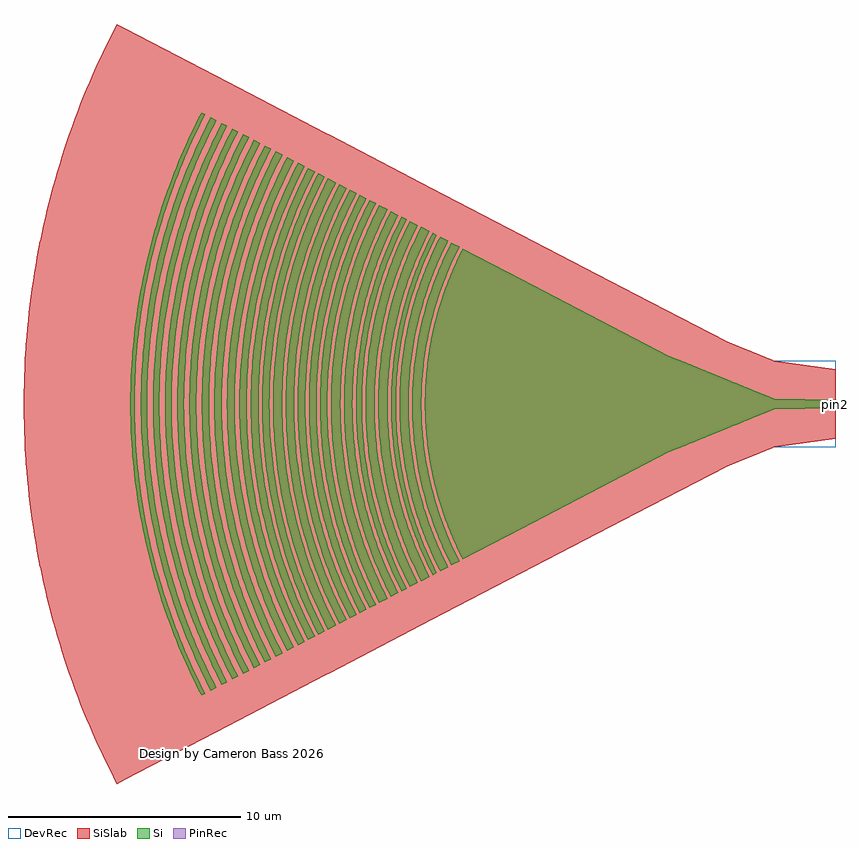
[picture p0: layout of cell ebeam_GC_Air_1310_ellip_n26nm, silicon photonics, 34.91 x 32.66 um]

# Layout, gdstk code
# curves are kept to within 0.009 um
import gdstk
lib = gdstk.Library(unit=1e-6, precision=1e-09)
def P(c, l, *ps):  # polygons
    for p in ps: c.add(gdstk.Polygon(p, *l))
Si = (1, 0)
PinRec = (1, 10)
SiSlab = (2, 0)
DevRec = (68, 0)

ebeam_gc_air_1310_ellip_ = lib.new_cell('ebeam_GC_Air_1310_ellip_n26nm')
P(ebeam_gc_air_1310_ellip_, Si, [(-16.037,-6.681),(-16.443,-5.829),(-16.76,-5.044),(-16.988,-4.376),(-17.253,-3.425),(-17.403,-2.735),(-17.555,-1.76),(-17.633,-0.916),(-17.661,-0.071),(-17.641,0.776),(-17.571,1.62),(-17.452,2.458),(-17.286,3.288),(-17.07,4.106),(-16.76,5.044),(-16.443,5.83),(-16.037,6.681),(-7.149,2.053),(-3.195,0.44),(-2.887,0.326),(-2.719,0.245),(-2.653,0.224),(0,0.175),(0,-0.175),(-2.685,-0.232),(-2.87,-0.319),(-3.21,-0.446),(-7.133,-2.046)],
  [(-16.529,-6.936),(-16.889,-6.188),(-17.226,-5.376),(-17.514,-4.545),(-17.754,-3.7),(-17.945,-2.841),(-18.084,-1.972),(-18.183,-0.952),(-18.213,-0.073),(-18.192,0.805),(-18.102,1.828),(-17.945,2.841),(-17.789,3.557),(-17.68,3.983),(-17.514,4.545),(-17.226,5.376),(-16.889,6.188),(-16.529,6.937),(-16.172,6.751),(-16.525,6.021),(-16.902,5.097),(-17.175,4.287),(-17.4,3.461),(-17.578,2.625),(-17.706,1.778),(-17.793,0.784),(-17.813,0.071),(-17.793,-0.784),(-17.706,-1.778),(-17.578,-2.624),(-17.4,-3.461),(-17.175,-4.286),(-16.902,-5.097),(-16.525,-6.021),(-16.172,-6.751)],
  [(-17.01,-7.187),(-17.383,-6.412),(-17.732,-5.571),(-18.03,-4.71),(-18.279,-3.833),(-18.447,-3.093),(-18.62,-2.045),(-18.713,-1.138),(-18.74,-0.683),(-18.754,-0.076),(-18.732,0.835),(-18.657,1.743),(-18.6,2.195),(-18.503,2.794),(-18.315,3.686),(-18.161,4.274),(-18.03,4.71),(-17.732,5.571),(-17.383,6.412),(-17.01,7.187),(-16.663,7.007),(-17.088,6.115),(-17.419,5.292),(-17.703,4.45),(-17.937,3.593),(-18.121,2.725),(-18.254,1.846),(-18.335,0.962),(-18.365,0.074),(-18.344,-0.813),(-18.254,-1.846),(-18.121,-2.725),(-17.937,-3.593),(-17.703,-4.45),(-17.419,-5.292),(-17.088,-6.115),(-16.663,-7.007)],
  [(-17.33,-7.354),(-17.712,-6.56),(-18.069,-5.7),(-18.374,-4.819),(-18.629,-3.922),(-18.83,-3.012),(-18.911,-2.553),(-18.998,-1.938),(-19.084,-1.009),(-19.115,-0.078),(-19.093,0.854),(-18.998,1.938),(-18.858,2.859),(-18.666,3.772),(-18.42,4.67),(-18.124,5.554),(-17.775,6.419),(-17.33,7.354),(-17.145,7.257),(-17.584,6.334),(-17.818,5.769),(-17.979,5.338),(-18.129,4.902),(-18.307,4.315),(-18.532,3.424),(-18.705,2.52),(-18.825,1.608),(-18.884,0.843),(-18.906,0.077),(-18.884,-0.843),(-18.825,-1.608),(-18.729,-2.368),(-18.564,-3.273),(-18.307,-4.315),(-18.129,-4.902),(-17.98,-5.337),(-17.584,-6.334),(-17.145,-7.257)],
  [(-17.826,-7.612),(-18.286,-6.643),(-18.647,-5.749),(-18.954,-4.834),(-19.208,-3.904),(-19.407,-2.959),(-19.551,-2.006),(-19.64,-1.044),(-19.673,-0.08),(-19.649,0.885),(-19.57,1.846),(-19.435,2.801),(-19.315,3.433),(-19.208,3.904),(-18.954,4.834),(-18.647,5.749),(-18.286,6.644),(-18.018,7.229),(-17.826,7.612),(-17.465,7.424),(-17.851,6.624),(-18.21,5.754),(-18.52,4.865),(-18.776,3.96),(-19.009,2.887),(-19.149,1.956),(-19.213,1.332),(-19.245,0.862),(-19.267,0.078),(-19.245,-0.862),(-19.213,-1.332),(-19.149,-1.956),(-19.009,-2.887),(-18.813,-3.807),(-18.566,-4.715),(-18.265,-5.607),(-17.915,-6.48),(-17.465,-7.424)],
  [(-18.306,-7.862),(-18.577,-7.315),(-18.782,-6.861),(-19.154,-5.937),(-19.472,-4.992),(-19.734,-4.031),(-19.939,-3.056),(-20.089,-2.071),(-20.18,-1.079),(-20.214,-0.083),(-20.19,0.913),(-20.108,1.906),(-19.996,2.729),(-19.878,3.383),(-19.773,3.87),(-19.61,4.514),(-19.472,4.992),(-19.154,5.937),(-18.782,6.862),(-18.577,7.315),(-18.306,7.862),(-17.962,7.683),(-18.362,6.854),(-18.554,6.407),(-18.79,5.802),(-19.101,4.88),(-19.357,3.94),(-19.559,2.987),(-19.704,2.024),(-19.794,1.055),(-19.827,0.081),(-19.803,-0.892),(-19.723,-1.863),(-19.639,-2.507),(-19.559,-2.987),(-19.357,-3.939),(-19.101,-4.879),(-18.79,-5.802),(-18.554,-6.406),(-18.362,-6.854),(-17.962,-7.683)],
  [(-18.668,-8.05),(-19.087,-7.179),(-19.478,-6.237),(-19.812,-5.273),(-20.004,-4.621),(-20.131,-4.127),(-20.341,-3.129),(-20.494,-2.12),(-20.588,-1.104),(-20.622,-0.085),(-20.598,0.934),(-20.514,1.952),(-20.371,2.961),(-20.244,3.629),(-20.131,4.127),(-19.862,5.112),(-19.706,5.597),(-19.478,6.237),(-19.087,7.179),(-18.668,8.05),(-18.441,7.933),(-18.715,7.38),(-18.989,6.768),(-19.411,5.675),(-19.569,5.197),(-19.757,4.554),(-19.993,3.577),(-20.173,2.588),(-20.278,1.757),(-20.343,0.921),(-20.367,0.084),(-20.343,-0.921),(-20.278,-1.757),(-20.173,-2.588),(-19.993,-3.576),(-19.757,-4.554),(-19.569,-5.197),(-19.411,-5.675),(-18.989,-6.768),(-18.715,-7.38),(-18.441,-7.932)],
  [(-19.126,-8.289),(-19.413,-7.71),(-19.629,-7.232),(-20.022,-6.258),(-20.356,-5.262),(-20.633,-4.249),(-20.849,-3.221),(-21.007,-2.183),(-21.103,-1.137),(-21.139,-0.088),(-21.129,0.613),(-21.103,1.137),(-21.007,2.183),(-20.849,3.221),(-20.633,4.249),(-20.356,5.262),(-20.022,6.258),(-19.629,7.233),(-19.337,7.869),(-19.126,8.289),(-18.804,8.121),(-19.228,7.243),(-19.496,6.611),(-19.68,6.131),(-20.009,5.156),(-20.28,4.163),(-20.493,3.157),(-20.647,2.139),(-20.741,1.115),(-20.776,0.086),(-20.759,-0.771),(-20.701,-1.627),(-20.602,-2.479),(-20.462,-3.325),(-20.319,-3.996),(-20.152,-4.661),(-20.009,-5.156),(-19.797,-5.807),(-19.559,-6.451),(-19.365,-6.928),(-19.085,-7.554),(-18.804,-8.121)],
  [(-19.625,-8.549),(-20.069,-7.625),(-20.484,-6.624),(-20.838,-5.601),(-21.134,-4.559),(-21.367,-3.501),(-21.54,-2.431),(-21.65,-1.353),(-21.681,-0.813),(-21.699,-0.09),(-21.673,0.992),(-21.583,2.073),(-21.432,3.145),(-21.297,3.855),(-21.177,4.384),(-20.892,5.428),(-20.726,5.945),(-20.484,6.625),(-20.069,7.625),(-19.625,8.549),(-19.262,8.36),(-19.698,7.455),(-20.103,6.476),(-20.284,5.979),(-20.503,5.308),(-20.781,4.285),(-21.001,3.249),(-21.159,2.202),(-21.256,1.147),(-21.292,0.088),(-21.287,-0.442),(-21.256,-1.147),(-21.159,-2.201),(-21.001,-3.249),(-20.781,-4.285),(-20.503,-5.307),(-20.284,-5.978),(-20.103,-6.476),(-19.698,-7.455),(-19.262,-8.36)],
  [(-20.04,-8.765),(-20.343,-8.152),(-20.572,-7.646),(-20.987,-6.616),(-21.34,-5.563),(-21.633,-4.493),(-21.862,-3.406),(-22.028,-2.308),(-22.13,-1.202),(-22.168,-0.093),(-22.141,1.017),(-22.05,2.124),(-21.98,2.675),(-21.862,3.406),(-21.633,4.493),(-21.34,5.564),(-20.987,6.616),(-20.572,7.646),(-20.343,8.152),(-20.04,8.765),(-19.764,8.621),(-20.287,7.522),(-20.498,7.019),(-20.756,6.338),(-20.989,5.648),(-21.145,5.124),(-21.286,4.596),(-21.45,3.887),(-21.617,2.992),(-21.74,2.09),(-21.83,1.001),(-21.856,0.091),(-21.846,-0.637),(-21.777,-1.727),(-21.672,-2.632),(-21.487,-3.708),(-21.371,-4.242),(-21.194,-4.949),(-20.989,-5.647),(-20.817,-6.165),(-20.565,-6.848),(-20.359,-7.354),(-20.061,-8.019),(-19.764,-8.621)],
  [(-20.46,-8.984),(-20.93,-8.008),(-21.366,-6.957),(-21.738,-5.882),(-22.049,-4.787),(-22.22,-4.049),(-22.329,-3.49),(-22.499,-2.365),(-22.604,-1.232),(-22.643,-0.095),(-22.615,1.042),(-22.521,2.177),(-22.362,3.303),(-22.259,3.863),(-22.094,4.604),(-21.794,5.701),(-21.621,6.243),(-21.366,6.957),(-20.93,8.008),(-20.46,8.984),(-20.176,8.836),(-20.561,8.048),(-20.787,7.536),(-20.998,7.018),(-21.257,6.318),(-21.487,5.609),(-21.642,5.071),(-21.905,3.982),(-22.014,3.434),(-22.105,2.881),(-22.222,1.956),(-22.294,1.025),(-22.321,0.093),(-22.303,-0.839),(-22.222,-1.956),(-22.105,-2.881),(-21.943,-3.8),(-21.825,-4.347),(-21.642,-5.071),(-21.487,-5.609),(-21.257,-6.318),(-20.998,-7.017),(-20.787,-7.536),(-20.482,-8.217),(-20.176,-8.836)],
  [(-20.895,-9.21),(-21.378,-8.206),(-21.824,-7.13),(-22.206,-6.028),(-22.525,-4.906),(-22.7,-4.149),(-22.812,-3.576),(-22.987,-2.424),(-23.094,-1.262),(-23.133,-0.097),(-23.128,0.486),(-23.094,1.263),(-22.987,2.424),(-22.812,3.577),(-22.571,4.718),(-22.264,5.843),(-21.893,6.948),(-21.457,8.029),(-21.132,8.736),(-20.895,9.21),(-20.6,9.056),(-20.916,8.418),(-21.152,7.897),(-21.444,7.19),(-21.71,6.473),(-22.054,5.379),(-22.248,4.639),(-22.374,4.08),(-22.55,3.141),(-22.679,2.194),(-22.762,1.242),(-22.801,0.096),(-22.782,-0.86),(-22.718,-1.813),(-22.607,-2.763),(-22.519,-3.329),(-22.413,-3.893),(-22.292,-4.453),(-22.105,-5.195),(-21.89,-5.928),(-21.71,-6.473),(-21.513,-7.011),(-21.228,-7.72),(-20.916,-8.418),(-20.6,-9.056)],
  [(-21.346,-9.445),(-21.676,-8.779),(-21.922,-8.233),(-22.154,-7.682),(-22.369,-7.125),(-22.75,-5.991),(-23.065,-4.838),(-23.312,-3.668),(-23.491,-2.486),(-23.601,-1.294),(-23.641,-0.1),(-23.636,0.498),(-23.601,1.295),(-23.491,2.486),(-23.312,3.668),(-23.065,4.838),(-22.75,5.992),(-22.369,7.125),(-22.154,7.683),(-21.922,8.234),(-21.676,8.779),(-21.346,9.445),(-21.03,9.28),(-21.269,8.802),(-21.597,8.09),(-21.896,7.367),(-22.168,6.632),(-22.353,6.074),(-22.573,5.323),(-22.719,4.753),(-22.889,3.989),(-23.059,3.025),(-23.182,2.053),(-23.258,1.076),(-23.286,0.098),(-23.267,-0.881),(-23.201,-1.858),(-23.088,-2.831),(-22.889,-3.988),(-22.764,-4.563),(-22.573,-5.323),(-22.353,-6.074),(-22.168,-6.631),(-21.896,-7.366),(-21.597,-8.09),(-21.354,-8.625),(-21.03,-9.28)],
  [(-21.834,-9.698),(-22.171,-9.016),(-22.424,-8.456),(-22.662,-7.89),(-22.883,-7.317),(-23.087,-6.739),(-23.274,-6.153),(-23.445,-5.563),(-23.598,-4.969),(-23.734,-4.369),(-23.851,-3.767),(-23.952,-3.161),(-24.035,-2.553),(-24.148,-1.329),(-24.178,-0.716),(-24.189,-0.102),(-24.16,1.126),(-24.059,2.35),(-23.952,3.161),(-23.851,3.767),(-23.734,4.369),(-23.598,4.969),(-23.445,5.564),(-23.274,6.154),(-23.087,6.739),(-22.883,7.318),(-22.424,8.457),(-22.083,9.201),(-21.834,9.699),(-21.481,9.515),(-21.814,8.844),(-22.142,8.111),(-22.369,7.553),(-22.648,6.8),(-22.837,6.228),(-23.063,5.458),(-23.346,4.286),(-23.53,3.299),(-23.666,2.305),(-23.765,1.104),(-23.794,0.1),(-23.775,-0.903),(-23.707,-1.905),(-23.59,-2.903),(-23.498,-3.497),(-23.387,-4.09),(-23.213,-4.874),(-23.063,-5.457),(-22.837,-6.228),(-22.648,-6.8),(-22.369,-7.553),(-22.142,-8.111),(-21.814,-8.844),(-21.481,-9.515)],
  [(-22.248,-9.914),(-22.767,-8.834),(-23.016,-8.258),(-23.248,-7.675),(-23.529,-6.887),(-23.721,-6.289),(-24.052,-5.079),(-24.19,-4.467),(-24.31,-3.85),(-24.413,-3.231),(-24.498,-2.609),(-24.565,-1.985),(-24.614,-1.359),(-24.656,-0.105),(-24.65,0.524),(-24.626,1.151),(-24.523,2.401),(-24.444,3.024),(-24.347,3.644),(-24.233,4.262),(-24.052,5.079),(-23.721,6.29),(-23.529,6.888),(-23.248,7.675),(-23.016,8.259),(-22.767,8.835),(-22.248,9.914),(-21.969,9.769),(-22.309,9.081),(-22.564,8.519),(-22.803,7.948),(-23.096,7.177),(-23.297,6.592),(-23.536,5.803),(-23.696,5.205),(-23.882,4.401),(-24.002,3.795),(-24.103,3.184),(-24.232,2.162),(-24.312,1.134),(-24.342,0.103),(-24.336,-0.516),(-24.312,-1.133),(-24.232,-2.162),(-24.103,-3.184),(-24.002,-3.795),(-23.882,-4.401),(-23.696,-5.205),(-23.536,-5.802),(-23.297,-6.591),(-23.096,-7.177),(-22.803,-7.948),(-22.564,-8.517),(-22.309,-9.081),(-21.969,-9.769)],
  [(-22.682,-10.14),(-22.945,-9.616),(-23.215,-9.033),(-23.47,-8.444),(-23.707,-7.848),(-24.127,-6.635),(-24.369,-5.814),(-24.529,-5.193),(-24.671,-4.566),(-24.793,-3.937),(-24.899,-3.304),(-24.986,-2.668),(-25.054,-2.029),(-25.104,-1.389),(-25.135,-0.749),(-25.147,-0.107),(-25.141,0.536),(-25.116,1.177),(-25.073,1.817),(-25.011,2.455),(-24.93,3.092),(-24.831,3.726),(-24.714,4.358),(-24.529,5.193),(-24.369,5.814),(-24.19,6.431),(-23.782,7.648),(-23.551,8.246),(-23.302,8.838),(-22.945,9.616),(-22.682,10.14),(-22.386,9.986),(-22.735,9.281),(-23.079,8.512),(-23.318,7.926),(-23.61,7.137),(-23.809,6.536),(-24.046,5.727),(-24.343,4.498),(-24.536,3.463),(-24.679,2.419),(-24.77,1.369),(-24.801,0.738),(-24.813,0.105),(-24.793,-0.948),(-24.756,-1.579),(-24.701,-2.208),(-24.569,-3.254),(-24.386,-4.292),(-24.252,-4.91),(-24.046,-5.727),(-23.809,-6.536),(-23.61,-7.135),(-23.318,-7.926),(-23.079,-8.512),(-22.735,-9.281),(-22.386,-9.986)],
  [(-23.114,-10.365),(-23.481,-9.626),(-23.751,-9.028),(-24.005,-8.424),(-24.242,-7.812),(-24.459,-7.194),(-24.659,-6.569),(-24.841,-5.94),(-25.005,-5.305),(-25.15,-4.666),(-25.276,-4.022),(-25.383,-3.375),(-25.472,-2.726),(-25.542,-2.074),(-25.593,-1.419),(-25.625,-0.765),(-25.637,-0.109),(-25.631,0.547),(-25.606,1.201),(-25.561,1.856),(-25.498,2.508),(-25.415,3.159),(-25.314,3.807),(-25.195,4.452),(-25.005,5.305),(-24.841,5.94),(-24.659,6.569),(-24.459,7.195),(-24.242,7.813),(-24.005,8.424),(-23.751,9.028),(-23.481,9.626),(-23.114,10.365),(-22.834,10.22),(-23.284,9.298),(-23.546,8.707),(-23.79,8.108),(-24.089,7.3),(-24.356,6.48),(-24.535,5.859),(-24.696,5.232),(-24.839,4.601),(-25.037,3.542),(-25.13,2.903),(-25.205,2.26),(-25.288,1.185),(-25.32,0.108),(-25.299,-0.97),(-25.205,-2.26),(-25.037,-3.542),(-24.839,-4.601),(-24.696,-5.232),(-24.477,-6.066),(-24.292,-6.686),(-24.017,-7.503),(-23.79,-8.108),(-23.46,-8.904),(-23.193,-9.493),(-22.834,-10.219)],
  [(-23.583,-10.61),(-23.865,-10.048),(-24.148,-9.44),(-24.414,-8.824),(-24.662,-8.201),(-24.891,-7.571),(-25.102,-6.934),(-25.295,-6.291),(-25.469,-5.644),(-25.671,-4.773),(-25.799,-4.114),(-25.91,-3.452),(-26.001,-2.788),(-26.072,-2.12),(-26.124,-1.452),(-26.157,-0.782),(-26.17,-0.112),(-26.163,0.559),(-26.137,1.23),(-26.092,1.899),(-26.027,2.566),(-25.942,3.232),(-25.838,3.895),(-25.671,4.773),(-25.522,5.427),(-25.355,6.076),(-25.168,6.72),(-24.963,7.36),(-24.741,7.992),(-24.499,8.617),(-24.239,9.235),(-23.962,9.847),(-23.583,10.61),(-23.292,10.458),(-23.756,9.51),(-24.024,8.905),(-24.353,8.087),(-24.58,7.466),(-24.853,6.627),(-25.036,5.992),(-25.201,5.351),(-25.347,4.706),(-25.55,3.622),(-25.699,2.53),(-25.762,1.872),(-25.807,1.213),(-25.839,0.11),(-25.818,-0.992),(-25.78,-1.652),(-25.722,-2.31),(-25.584,-3.405),(-25.475,-4.056),(-25.347,-4.706),(-25.201,-5.351),(-25.036,-5.992),(-24.853,-6.627),(-24.58,-7.466),(-24.353,-8.087),(-24.024,-8.905),(-23.663,-9.709),(-23.292,-10.458)],
  [(-24.066,-10.861),(-24.358,-10.28),(-24.647,-9.657),(-24.92,-9.027),(-25.174,-8.39),(-25.482,-7.529),(-25.692,-6.875),(-25.883,-6.216),(-26.054,-5.552),(-26.206,-4.883),(-26.338,-4.209),(-26.451,-3.532),(-26.544,-2.852),(-26.617,-2.17),(-26.67,-1.485),(-26.704,-0.8),(-26.717,-0.114),(-26.71,0.572),(-26.684,1.257),(-26.637,1.942),(-26.544,2.853),(-26.451,3.532),(-26.338,4.209),(-26.206,4.883),(-26.054,5.552),(-25.883,6.216),(-25.692,6.875),(-25.408,7.746),(-25.174,8.39),(-24.92,9.028),(-24.647,9.657),(-24.358,10.28),(-24.066,10.861),(-23.78,10.712),(-24.352,9.529),(-24.705,8.699),(-24.949,8.067),(-25.175,7.428),(-25.447,6.567),(-25.628,5.916),(-25.841,5.038),(-26.059,3.93),(-26.163,3.262),(-26.249,2.59),(-26.347,1.466),(-26.38,0.79),(-26.393,0.113),(-26.371,-1.015),(-26.331,-1.691),(-26.273,-2.366),(-26.194,-3.038),(-26.096,-3.708),(-25.888,-4.817),(-25.739,-5.477),(-25.509,-6.35),(-25.315,-6.999),(-25.026,-7.855),(-24.789,-8.489),(-24.443,-9.322),(-24.163,-9.938),(-23.78,-10.712)],
  [(-24.536,-11.106),(-24.837,-10.508),(-25.133,-9.871),(-25.412,-9.227),(-25.671,-8.576),(-25.911,-7.916),(-26.132,-7.251),(-26.396,-6.354),(-26.572,-5.675),(-26.727,-4.991),(-26.862,-4.302),(-26.977,-3.61),(-27.072,-2.916),(-27.147,-2.217),(-27.202,-1.518),(-27.236,-0.818),(-27.249,-0.117),(-27.236,0.818),(-27.202,1.519),(-27.147,2.219),(-27.072,2.916),(-26.977,3.61),(-26.862,4.302),(-26.727,4.991),(-26.572,5.675),(-26.396,6.354),(-26.132,7.251),(-25.911,7.916),(-25.671,8.576),(-25.412,9.228),(-25.133,9.871),(-24.837,10.508),(-24.536,11.106),(-24.261,10.963),(-24.657,10.166),(-24.944,9.535),(-25.297,8.683),(-25.54,8.034),(-25.836,7.159),(-26.034,6.496),(-26.214,5.826),(-26.373,5.153),(-26.597,4.021),(-26.704,3.337),(-26.791,2.649),(-26.892,1.5),(-26.925,0.808),(-26.938,0.115),(-26.932,-0.577),(-26.905,-1.269),(-26.815,-2.42),(-26.735,-3.107),(-26.635,-3.793),(-26.422,-4.927),(-26.214,-5.826),(-26.034,-6.495),(-25.836,-7.159),(-25.541,-8.034),(-25.212,-8.897),(-24.944,-9.535),(-24.657,-10.166),(-24.261,-10.963)],
  [(-25.009,-11.352),(-25.318,-10.738),(-25.621,-10.088),(-25.905,-9.43),(-26.171,-8.764),(-26.337,-8.315),(-26.641,-7.41),(-26.848,-6.723),(-27.034,-6.03),(-27.199,-5.333),(-27.345,-4.631),(-27.468,-3.926),(-27.603,-2.98),(-27.679,-2.266),(-27.735,-1.552),(-27.77,-0.836),(-27.784,-0.12),(-27.777,0.597),(-27.749,1.313),(-27.7,2.029),(-27.631,2.742),(-27.54,3.453),(-27.388,4.396),(-27.25,5.1),(-27.091,5.799),(-26.912,6.493),(-26.712,7.182),(-26.493,7.865),(-26.255,8.54),(-25.996,9.209),(-25.621,10.088),(-25.318,10.738),(-25.009,11.352),(-24.741,11.213),(-25.148,10.394),(-25.441,9.749),(-25.715,9.097),(-26.051,8.215),(-26.281,7.545),(-26.491,6.868),(-26.681,6.187),(-26.903,5.269),(-27.132,4.111),(-27.241,3.412),(-27.33,2.709),(-27.399,2.004),(-27.447,1.297),(-27.481,0.118),(-27.474,-0.59),(-27.447,-1.297),(-27.355,-2.474),(-27.207,-3.645),(-27.091,-4.344),(-26.953,-5.038),(-26.74,-5.957),(-26.556,-6.641),(-26.281,-7.545),(-26.051,-8.215),(-25.715,-9.097),(-25.441,-9.749),(-25.148,-10.394),(-24.741,-11.212)],
  [(-25.471,-11.592),(-25.787,-10.964),(-26.096,-10.3),(-26.386,-9.628),(-26.657,-8.948),(-26.827,-8.49),(-27.138,-7.566),(-27.349,-6.865),(-27.539,-6.158),(-27.76,-5.207),(-27.9,-4.489),(-28.021,-3.767),(-28.12,-3.042),(-28.198,-2.314),(-28.255,-1.584),(-28.29,-0.854),(-28.305,-0.122),(-28.29,0.854),(-28.255,1.584),(-28.198,2.314),(-28.12,3.042),(-28.021,3.767),(-27.9,4.489),(-27.76,5.207),(-27.597,5.921),(-27.414,6.63),(-27.211,7.332),(-26.987,8.029),(-26.743,8.72),(-26.479,9.402),(-26.195,10.078),(-25.787,10.964),(-25.471,11.592),(-25.215,11.459),(-25.631,10.621),(-25.931,9.963),(-26.301,9.071),(-26.555,8.394),(-26.864,7.48),(-27.071,6.787),(-27.259,6.087),(-27.426,5.384),(-27.573,4.675),(-27.699,3.963),(-27.862,2.768),(-27.932,2.048),(-27.981,1.327),(-28.016,0.121),(-27.993,-1.085),(-27.951,-1.807),(-27.888,-2.528),(-27.804,-3.246),(-27.699,-3.962),(-27.573,-4.675),(-27.426,-5.384),(-27.199,-6.321),(-27.004,-7.018),(-26.79,-7.709),(-26.555,-8.394),(-26.301,-9.071),(-25.931,-9.962),(-25.631,-10.621),(-25.215,-11.459)],
  [(-25.936,-11.834),(-26.259,-11.192),(-26.575,-10.514),(-26.871,-9.829),(-27.148,-9.135),(-27.403,-8.432),(-27.639,-7.723),(-27.854,-7.008),(-28.048,-6.285),(-28.273,-5.315),(-28.417,-4.582),(-28.539,-3.845),(-28.641,-3.105),(-28.721,-2.362),(-28.779,-1.617),(-28.815,-0.871),(-28.829,-0.125),(-28.815,0.871),(-28.779,1.617),(-28.721,2.362),(-28.641,3.106),(-28.539,3.846),(-28.417,4.582),(-28.273,5.316),(-28.107,6.044),(-27.921,6.768),(-27.713,7.485),(-27.484,8.197),(-27.236,8.901),(-26.966,9.598),(-26.676,10.287),(-26.367,10.967),(-25.936,11.835),(-25.685,11.704),(-26.004,11.069),(-26.417,10.175),(-26.703,9.493),(-26.97,8.804),(-27.217,8.107),(-27.513,7.167),(-27.773,6.217),(-27.943,5.498),(-28.182,4.289),(-28.296,3.56),(-28.389,2.827),(-28.461,2.091),(-28.511,1.354),(-28.547,0.123),(-28.539,-0.616),(-28.511,-1.354),(-28.415,-2.582),(-28.329,-3.315),(-28.222,-4.046),(-27.996,-5.257),(-27.832,-5.978),(-27.582,-6.93),(-27.294,-7.873),(-27.055,-8.572),(-26.703,-9.493),(-26.417,-10.173),(-26.111,-10.846),(-25.685,-11.704)],
  [(-26.395,-12.073),(-26.725,-11.417),(-27.047,-10.726),(-27.349,-10.026),(-27.631,-9.318),(-27.892,-8.601),(-28.132,-7.878),(-28.351,-7.148),(-28.549,-6.413),(-28.779,-5.422),(-28.926,-4.674),(-29.051,-3.923),(-29.154,-3.168),(-29.236,-2.409),(-29.295,-1.65),(-29.332,-0.889),(-29.347,-0.127),(-29.339,0.635),(-29.31,1.396),(-29.258,2.157),(-29.184,2.916),(-29.088,3.671),(-28.97,4.425),(-28.831,5.174),(-28.61,6.166),(-28.42,6.904),(-28.208,7.636),(-27.974,8.362),(-27.721,9.08),(-27.446,9.791),(-27.15,10.494),(-26.835,11.188),(-26.395,12.073),(-26.154,11.948),(-26.59,11.072),(-26.902,10.386),(-27.287,9.457),(-27.552,8.751),(-27.797,8.037),(-28.091,7.075),(-28.286,6.346),(-28.46,5.613),(-28.614,4.874),(-28.745,4.131),(-28.915,2.886),(-29.025,1.634),(-29.061,0.88),(-29.076,0.126),(-29.068,-0.629),(-29.039,-1.382),(-28.942,-2.636),(-28.854,-3.384),(-28.745,-4.131),(-28.614,-4.874),(-28.46,-5.613),(-28.286,-6.346),(-28.021,-7.316),(-27.797,-8.036),(-27.552,-8.75),(-27.194,-9.69),(-26.902,-10.385),(-26.589,-11.072),(-26.154,-11.948)],
  [(-26.865,-12.318),(-27.307,-11.428),(-27.628,-10.719),(-27.93,-10.001),(-28.211,-9.275),(-28.469,-8.542),(-28.707,-7.8),(-28.923,-7.052),(-29.118,-6.298),(-29.393,-5.03),(-29.527,-4.264),(-29.673,-3.236),(-29.755,-2.462),(-29.816,-1.685),(-29.854,-0.908),(-29.869,-0.13),(-29.854,0.908),(-29.816,1.685),(-29.755,2.462),(-29.673,3.236),(-29.527,4.264),(-29.393,5.03),(-29.118,6.298),(-28.923,7.052),(-28.707,7.8),(-28.469,8.542),(-28.211,9.276),(-27.93,10.001),(-27.628,10.719),(-27.307,11.428),(-26.865,12.319),(-26.621,12.192),(-26.954,11.528),(-27.281,10.831),(-27.683,9.887),(-27.96,9.169),(-28.218,8.443),(-28.453,7.711),(-28.733,6.724),(-28.918,5.977),(-29.081,5.224),(-29.223,4.467),(-29.342,3.708),(-29.439,2.944),(-29.513,2.178),(-29.565,1.411),(-29.603,0.128),(-29.595,-0.642),(-29.565,-1.41),(-29.513,-2.178),(-29.439,-2.944),(-29.342,-3.708),(-29.223,-4.467),(-28.974,-5.726),(-28.733,-6.724),(-28.526,-7.464),(-28.298,-8.2),(-28.048,-8.928),(-27.778,-9.648),(-27.385,-10.596),(-27.066,-11.297),(-26.621,-12.191)],
  [(-27.263,-12.526),(-27.72,-11.605),(-28.047,-10.884),(-28.353,-10.156),(-28.638,-9.419),(-28.901,-8.673),(-29.142,-7.92),(-29.362,-7.161),(-29.559,-6.396),(-29.734,-5.624),(-29.886,-4.848),(-30.016,-4.069),(-30.123,-3.286),(-30.207,-2.499),(-30.263,-1.792),(-30.307,-0.922),(-30.322,-0.132),(-30.314,0.659),(-30.284,1.448),(-30.23,2.238),(-30.123,3.286),(-30.016,4.069),(-29.886,4.849),(-29.734,5.624),(-29.559,6.396),(-29.362,7.161),(-29.142,7.921),(-28.901,8.674),(-28.638,9.419),(-28.353,10.156),(-27.94,11.126),(-27.606,11.843),(-27.263,12.526),(-27.1,12.441),(-27.432,11.777),(-27.765,11.066),(-28.175,10.101),(-28.458,9.367),(-28.721,8.626),(-28.961,7.878),(-29.247,6.869),(-29.435,6.106),(-29.701,4.823),(-29.83,4.047),(-29.936,3.268),(-30.02,2.486),(-30.081,1.703),(-30.119,0.917),(-30.134,0.131),(-30.126,-0.654),(-30.096,-1.44),(-30.043,-2.225),(-29.966,-3.008),(-29.868,-3.788),(-29.746,-4.564),(-29.602,-5.337),(-29.435,-6.106),(-29.247,-6.869),(-28.961,-7.878),(-28.721,-8.626),(-28.458,-9.367),(-28.175,-10.101),(-27.765,-11.065),(-27.432,-11.777),(-27.1,-12.441)])
P(ebeam_gc_air_1310_ellip_, SiSlab, [(-30.904,-16.329),(-31.366,-15.41),(-31.801,-14.477),(-32.208,-13.533),(-32.588,-12.577),(-32.94,-11.61),(-33.264,-10.634),(-33.559,-9.648),(-33.825,-8.655),(-34.062,-7.654),(-34.27,-6.647),(-34.449,-5.634),(-34.598,-4.616),(-34.717,-3.594),(-34.807,-2.569),(-34.867,-1.543),(-34.9,-0.171),(-34.89,0.857),(-34.85,1.885),(-34.781,2.912),(-34.681,3.935),(-34.552,4.956),(-34.393,5.972),(-34.135,7.319),(-33.907,8.322),(-33.651,9.318),(-33.365,10.307),(-33.051,11.286),(-32.709,12.256),(-32.338,13.216),(-31.94,14.164),(-31.366,15.41),(-30.904,16.329),(-4.744,2.708),(-2.65,1.855),(0,1.5),(0,-1.5),(-2.65,-1.855),(-4.728,-2.7)])
P(ebeam_gc_air_1310_ellip_, DevRec, [(-30.904,-16.329),(-31.366,-15.41),(-31.801,-14.477),(-32.208,-13.533),(-32.588,-12.577),(-32.94,-11.61),(-33.264,-10.634),(-33.559,-9.648),(-33.825,-8.655),(-34.062,-7.654),(-34.27,-6.647),(-34.449,-5.634),(-34.598,-4.616),(-34.717,-3.594),(-34.807,-2.569),(-34.867,-1.543),(-34.9,-0.171),(-34.89,0.857),(-34.85,1.885),(-34.781,2.912),(-34.681,3.935),(-34.552,4.956),(-34.393,5.972),(-34.135,7.319),(-33.907,8.322),(-33.651,9.318),(-33.365,10.307),(-33.051,11.286),(-32.709,12.256),(-32.338,13.216),(-31.94,14.164),(-31.366,15.41),(-30.904,16.329),(-4.744,2.708),(-2.65,1.855),(0,1.855),(0,-1.855),(-2.65,-1.855),(-4.728,-2.7)])
ebeam_gc_air_1310_ellip_.add(gdstk.FlexPath([(-0.01,0),(0.01,0)], 0.35, ends="flush", simple_path=True, layer=1, datatype=10))  # PinRec
ebeam_gc_air_1310_ellip_.add(gdstk.Label('pin2', (0,0), layer=1, texttype=10))
ebeam_gc_air_1310_ellip_.add(gdstk.Label('Design by Cameron Bass 2026', (-25.94,-15.02), layer=10, texttype=0))

lib.write_gds('ebeam_GC_Air_1310_ellip_n26nm.gds')
